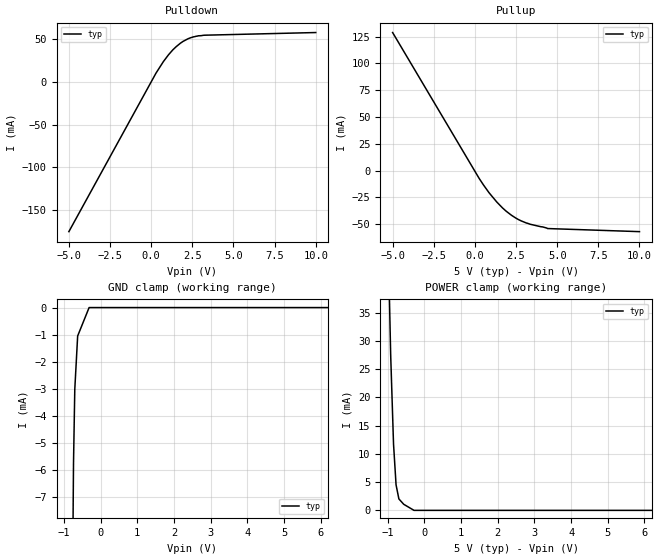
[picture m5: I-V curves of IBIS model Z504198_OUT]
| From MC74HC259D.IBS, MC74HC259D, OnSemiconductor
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| (C) COPYRIGHT 1993-2000
| MENTOR GRAPHICS CORPORATION
| ICX STANDARD LIBRARY, ICX PROJECT MODELING,
| ICX CUSTOM MODELING, ICX VENDOR MODEL
| ALL RIGHTS RESERVED.
| THE FOLLOWING ARE TRADEMARKS OR SERVICE MARKS OF
| MENTOR GRAPHICS CORPORATION:ICX (R), ICX STANDARD
| LIBRARY(R), ICX PROJECT MODELING(R), ICX CUSTOM
| MODELING(R), qualityIBIS(TM), MODELVIEWER(TM),
| AND MODELEDITOR(TM)
| ALL COPIES OF SOFTWARE, INCLUDING BUT NOT LIMITED TO
| ANY MODIFICATIONS, ENHANCEMENTS OR DERIVATIVE WORKS,
| MUST CONTAIN ALL MENTOR GRAPHICS CORPORATION'S
| NOTICES AND LEGENDS, INCLUDING THOSE EMBEDDED IN
| SOFTWARE AND THOSE AFFIXED TO SOFTWARE MEDIUM
| AND CONTAINER, AS RECEIVED FROM MENTOR GRAPHICS
| CORPORATION.
| Model Application Version 1.89 2/18/99.
[Model] Z504198_OUT
Model_type Output
Vref=0.000V
Rref=500.0Mohms
Cref=50.00pF
Vmeas=2.500V
C_comp 8.000pF NA NA
| variable typ   min   max
[Voltage Range] 5.000V NA NA
[POWER Clamp Reference] 5.000V NA NA
[Pullup Reference] 5.000V NA NA
[Pulldown Reference] 0.000V NA NA
[GND Clamp Reference] 0.000V NA NA
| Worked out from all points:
|   slope of the pulldown table from 0 to 0.75 V, typ, clamps not added: 31.3 ohm
|   slope of the pullup table from 0 to 0.75 V, typ, clamps not added: 42.4 ohm
[GND Clamp]
-5V       -599.4mA   NA         NA
-1.026V   -55.26mA   NA         NA
-737.3mV  -5.752mA   NA         NA
-702.4mV  -3.016mA   NA         NA
-624.2mV  -1.048mA   NA         NA
-312.1mV  0A         NA         NA
10V       0A         NA         NA
[Pulldown]
-5V       -175.4mA   NA         NA
294.9mV   10.22mA    NA         NA
742.2mV   23.68mA    NA         NA
1.051V    31.6mA     NA         NA
1.323V    37.57mA    NA         NA
1.777V    45.23mA    NA         NA
2.407V    51.68mA    NA         NA
3.242V    54.61mA    NA         NA
10V       57.73mA    NA         NA
[Pullup]
-5V       128.8mA    NA         NA
254mV     -7.193mA   NA         NA
859mV     -20.65mA   NA         NA
1.33V     -29.31mA   NA         NA
1.895V    -37.82mA   NA         NA
2.232V    -41.78mA   NA         NA
2.808V    -46.88mA   NA         NA
3.359V    -50.05mA   NA         NA
4.415V    -54.06mA   NA         NA
10V       -56.95mA   NA         NA
[POWER Clamp]
-5V       1.7A       NA         NA
-1.249V   139.1mA    NA         NA
-1.05V    67mA       NA         NA
-917mV    27.62mA    NA         NA
-839mV    11.76mA    NA         NA
-770mV    4.524mA    NA         NA
-693mV    2.028mA    NA         NA
-561mV    1.075mA    NA         NA
-280.5mV  0A         NA         NA
10V       0A         NA         NA
[Ramp]
| variable typ min max
dV/dt_r 2.791/1.600n NA NA
dV/dt_f 2.791/1.228n NA NA
R_load = 500.0Ohms
